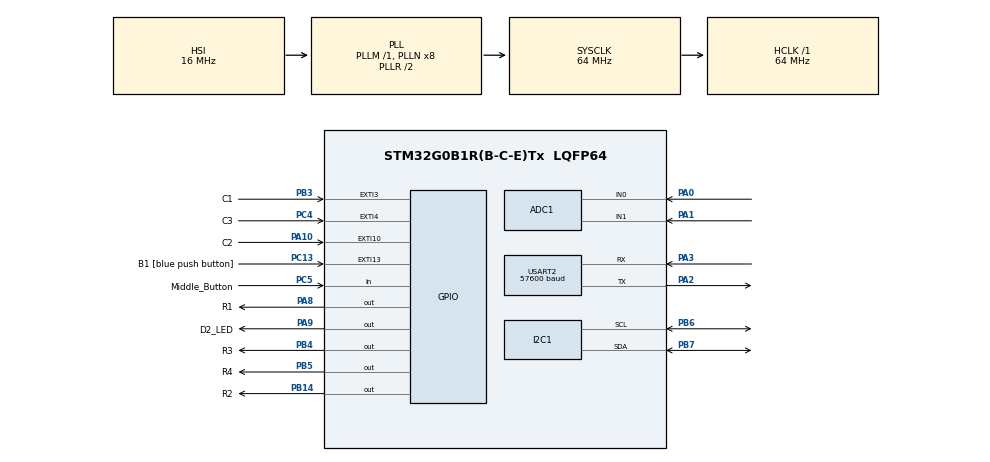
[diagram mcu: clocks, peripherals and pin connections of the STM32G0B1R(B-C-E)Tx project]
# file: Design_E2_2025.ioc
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ADC1.Channel-2\#ChannelRegularConversion=ADC_CHANNEL_0
ADC1.Channel-3\#ChannelRegularConversion=ADC_CHANNEL_1
ADC1.ContinuousConvMode=DISABLE
ADC1.DMAContinuousRequests=ENABLE
ADC1.DiscontinuousConvMode=DISABLE
ADC1.ExternalTrigConv=ADC_EXTERNALTRIG_T1_TRGO2
ADC1.NbrOfConversion=2
ADC1.NbrOfConversionFlag=1
ADC1.Rank-2\#ChannelRegularConversion=1
ADC1.Rank-3\#ChannelRegularConversion=2
ADC1.SamplingTime-2\#ChannelRegularConversion=ADC_SAMPLINGTIME_COMMON_1
ADC1.SamplingTime-3\#ChannelRegularConversion=ADC_SAMPLINGTIME_COMMON_2
ADC1.SamplingTimeCommon1=ADC_SAMPLETIME_160CYCLES_5
ADC1.SamplingTimeCommon2=ADC_SAMPLETIME_160CYCLES_5
ADC1.SelectedChannel=ADC_CHANNEL_0|ADC_CHANNEL_1
ADC1.master=1
Dma.ADC1.0.Direction=DMA_PERIPH_TO_MEMORY
Dma.ADC1.0.EventEnable=DISABLE
Dma.ADC1.0.Instance=DMA1_Channel1
Dma.ADC1.0.MemDataAlignment=DMA_MDATAALIGN_HALFWORD
Dma.ADC1.0.MemInc=DMA_MINC_ENABLE
Dma.ADC1.0.Mode=DMA_CIRCULAR
Dma.ADC1.0.PeriphDataAlignment=DMA_PDATAALIGN_HALFWORD
Dma.ADC1.0.PeriphInc=DMA_PINC_DISABLE
Dma.ADC1.0.Polarity=HAL_DMAMUX_REQ_GEN_RISING
Dma.ADC1.0.Priority=DMA_PRIORITY_LOW
Dma.ADC1.0.RequestNumber=1
Dma.ADC1.0.SignalID=NONE
Dma.ADC1.0.SyncEnable=DISABLE
Dma.ADC1.0.SyncPolarity=HAL_DMAMUX_SYNC_NO_EVENT
Dma.ADC1.0.SyncRequestNumber=1
Dma.ADC1.0.SyncSignalID=NONE
Dma.Request0=ADC1
I2C1.Timing=0x10B17DB5
Mcu.Family=STM32G0
Mcu.Name=STM32G0B1R(B-C-E)Tx
Mcu.Package=LQFP64
NVIC.ADC1_COMP_IRQn=true\:2\:0\:true\:false\:true\:true\:true\:true
NVIC.DMA1_Channel1_IRQn=true\:1\:0\:true\:false\:true\:false\:true\:true
NVIC.EXTI2_3_IRQn=true\:0\:0\:false\:false\:true\:true\:true\:true
NVIC.EXTI4_15_IRQn=true\:0\:0\:false\:false\:true\:true\:true\:true
NVIC.USART2_LPUART2_IRQn=true\:0\:0\:true\:false\:true\:true\:true\:true
PA0.Mode=IN0
PA0.Signal=ADC1_IN0
PA1.Mode=IN1
PA1.Signal=ADC1_IN1
PA10.GPIO_Label=C2
PA10.GPIO_PuPd=GPIO_PULLDOWN
PA10.Signal=GPXTI10
PA13.GPIO_Label=TMS
PA13.Mode=Serial_Wire
PA13.Signal=SYS_SWDIO
PA14-BOOT0.GPIO_Label=TCK
PA14-BOOT0.Mode=Serial_Wire
PA14-BOOT0.Signal=SYS_SWCLK
PA2.Mode=Asynchronous
PA2.Signal=USART2_TX
PA3.Mode=Asynchronous
PA3.Signal=USART2_RX
PA8.GPIO_Label=R1
PA8.Signal=GPIO_Output
PA9.GPIO_Label=D2_LED
PA9.Signal=GPIO_Output
PB14.GPIO_Label=R2
PB14.Signal=GPIO_Output
PB3.GPIO_Label=C1
PB3.GPIO_PuPd=GPIO_PULLDOWN
PB3.Signal=GPXTI3
PB4.GPIO_Label=R3
PB4.Signal=GPIO_Output
PB5.GPIO_Label=R4
PB5.Signal=GPIO_Output
PB6.Mode=I2C
PB6.Signal=I2C1_SCL
PB7.Mode=I2C
PB7.Signal=I2C1_SDA
PC13.GPIO_Label=B1 [blue push button]
PC13.Signal=GPXTI13
PC14-OSC32_IN\ (PC14).Mode=LSE-External-Oscillator
PC14-OSC32_IN\ (PC14).Signal=RCC_OSC32_IN
PC15-OSC32_OUT\ (PC15).Mode=LSE-External-Oscillator
PC15-OSC32_OUT\ (PC15).Signal=RCC_OSC32_OUT
PC4.GPIO_Label=C3
PC4.GPIO_PuPd=GPIO_PULLDOWN
PC4.Signal=GPXTI4
PC5.GPIO_Label=Middle_Button
PC5.GPIO_PuPd=GPIO_PULLUP
PC5.Signal=GPIO_Input
PF0-OSC_IN\ (PF0).GPIO_Label=MCO
PF0-OSC_IN\ (PF0).Mode=HSE-External-Clock-Source
PF0-OSC_IN\ (PF0).Signal=RCC_OSC_IN
ProjectManager.HeapSize=0x200
ProjectManager.StackSize=0x400
ProjectManager.TargetToolchain=STM32CubeIDE
RCC.ADCFreq_Value=64000000
RCC.AHBFreq_Value=64000000
RCC.CortexFreq_Value=64000000
RCC.EXTERNAL_CLOCK_VALUE=12288000
RCC.HCLKFreq_Value=64000000
RCC.HSE_VALUE=8000000
RCC.HSI48_VALUE=48000000
RCC.HSI_VALUE=16000000
RCC.PLLP=RCC_PLLP_DIV32
RCC.SYSCLKFreq_VALUE=64000000
RCC.SYSCLKSource=RCC_SYSCLKSOURCE_PLLCLK
RCC.USBFreq_Value=48000000
RCC.VCOOutputFreq_Value=128000000
RTC.Date=26
RTC.Hours=22
RTC.Minutes=12
RTC.Month=RTC_MONTH_FEBRUARY
RTC.Seconds=42
RTC.WeekDay=RTC_WEEKDAY_WEDNESDAY
RTC.Year=25
TIM1.Period=3199
TIM1.TIM_MasterOutputTrigger=TIM_TRGO_UPDATE
TIM1.TIM_MasterOutputTrigger2=TIM_TRGO2_UPDATE
TIM1.TIM_MasterSlaveMode=TIM_MASTERSLAVEMODE_ENABLE
USART2.BaudRate=57600
USART2.Parity=PARITY_EVEN
USART2.VirtualMode-Asynchronous=VM_ASYNC
USART2.WordLength=WORDLENGTH_9B
VP_RTC_VS_RTC_Activate.Mode=RTC_Enabled
VP_RTC_VS_RTC_Calendar.Mode=RTC_Calendar
VP_SYS_VS_DBSignals.Mode=DisableDeadBatterySignals
VP_TIM1_VS_ClockSourceINT.Mode=Internal
VP_TIM1_VS_ClockSourceITR.Mode=TriggerSource_ITR0
board=NUCLEO-G0B1RE

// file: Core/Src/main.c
/* USER CODE BEGIN Header */
/**
  ******************************************************************************
  * @file           : main.c
  * @brief          : Main program body
  ******************************************************************************
  * @attention
  *
  * Copyright (c) 2025 STMicroelectronics.
  * All rights reserved.
  *
  * This software is licensed under terms that can be found in the LICENSE file
  * in the root directory of this software component.
  * If no LICENSE file comes with this software, it is provided AS-IS.
  *
  ******************************************************************************
  */
/* USER CODE END Header */
#include "main.h"

/* USER CODE BEGIN Includes */
#include <string.h>
#include <stdio.h>
#include <math.h>
#include <stdlib.h>
#include <stdbool.h>
#include "ssd1306.h"
#include "ssd1306_fonts.h"
/* USER CODE END Includes */

/* USER CODE BEGIN PD */
#define BUFFER_SIZE 1200
#define BUTTON_DEBOUNCE_TIME_MS 50
#define DISPLAY_INTERVAL 250
/* USER CODE END PD */

ADC_HandleTypeDef hadc1;
DMA_HandleTypeDef hdma_adc1;

I2C_HandleTypeDef hi2c1;

RTC_HandleTypeDef hrtc;

TIM_HandleTypeDef htim1;

UART_HandleTypeDef huart2;

/* USER CODE BEGIN PV */
uint8_t rx_indx;
uint8_t rx_data[10];
uint8_t rx_buffer[100];
uint8_t transfer_cplt;
float Voffset = 1.65;
float Gain = 1.47;
float Actual_Voltage = 0;
float Actual_Current = 0;
char TDBuffer[100];
char PrintBuffer[2000];
uint8_t convCompleted = 0;
uint16_t ADC_Buffer[BUFFER_SIZE];
uint16_t ADC_DummyBuffer[BUFFER_SIZE];
uint32_t Volt_adcBuffer[BUFFER_SIZE / 2];
uint32_t Current_adcBuffer[BUFFER_SIZE / 2];
float Apparent_Power = 0;
float Effective_Voltage = 0;
float Effective_Current = 0;
float max_Actual_Voltage = 0;
float max_Actual_Current = 0;
volatile uint8_t flag_adc_processing = 0;
volatile uint8_t flag_uart_processing = 0;
volatile uint8_t current_screen = 0;
uint32_t lastDisplayTime = 0;
char lineBuffer[100];
volatile uint8_t previous_main_screen = 0;
static uint8_t led_state = 0;
float Phase_Angle = 0;
float Real_Power = 0;
float Reactive_Power = 0;
float Power_factor = 0;
static uint32_t last_debounce_time = 0;
float  star_flag=0;
float  star_flag2=0;

// stack for keeping track of screen
#define MAX_HISTORY 10
uint8_t screen_history[MAX_HISTORY];
int history_index = 0;

void push_screen(uint8_t screen) {
    if (history_index < MAX_HISTORY) {
        screen_history[history_index++] = screen;
    }
}

uint8_t pop_screen(void) {
    if (history_index > 0) {
        return screen_history[--history_index];
    }
    return 0; // fallback default screen
}
/* USER CODE END PV */

void SystemClock_Config(void);
static void MX_GPIO_Init(void);
static void MX_DMA_Init(void);
static void MX_ADC1_Init(void);
static void MX_RTC_Init(void);
static void MX_USART2_UART_Init(void);
static void MX_TIM1_Init(void);
static void MX_I2C1_Init(void);
/* USER CODE BEGIN PFP */
void SendStudent_Number(void);
void Process_UART_Command(void);
void Process_ADC_Data(void);
void Debug_ADC_Values(float max_voltage, float max_current, int voltage_crossings, int current_crossings);
void UpdateCurrentScreen(void);
void middle_button(void);
void Keys_Detect(void);
/* USER CODE END PFP */

/* USER CODE BEGIN 0 */
void SendStudent_Number(void) {
    HAL_Delay(150);
    char uart_buffer[20];
    const char studentNumber[] = "*24724181#\n";
    sprintf(uart_buffer, "%s", studentNumber);
    HAL_UART_Transmit(&huart2, (uint8_t*)studentNumber, strlen(studentNumber), 500);
}

void Process_UART_Command(void) {
    if (strcmp((char *)rx_buffer, "*Load#") == 0) {
        led_state = !led_state;
        HAL_GPIO_WritePin(D2_LED_GPIO_Port, D2_LED_Pin, led_state ? GPIO_PIN_SET : GPIO_PIN_RESET);
    } else if (strcmp((char *)rx_buffer, "*Stat#") == 0) {
        RTC_TimeTypeDef sTime;
        RTC_DateTypeDef sDate;
        HAL_RTC_GetTime(&hrtc, &sTime, RTC_FORMAT_BIN);
        HAL_RTC_GetDate(&hrtc, &sDate, RTC_FORMAT_BIN);
        sprintf(PrintBuffer,
                "%02d/%02d/%02d %02d:%02d:%02d\n"
                "Voltage:     %.1fV\n"
                "Current:    %.0fmA\n"
                "Phase:     %.3frad\n"
                "Apparent:    %.0fVA\n"
                "Real:         %.0fW\n"
                "Reactive:   %.0fVAR\n"
                "PowerFact:    %.3f\n"
                "Energy/d:   0.000Wh\n"
                "MaxPower:    0.000W\n"
                "UnitsLeft: 0.000kWh\n",
                sDate.Year + 2000, sDate.Month, sDate.Date,
                sTime.Hours, sTime.Minutes, sTime.Seconds,
                Effective_Voltage, Effective_Current * 1000, Phase_Angle, Apparent_Power,
                Real_Power, Reactive_Power, Power_factor);
        HAL_UART_Transmit(&huart2, (uint8_t*)PrintBuffer, strlen(PrintBuffer), HAL_MAX_DELAY);
    }
}

void Debug_ADC_Values(float max_voltage, float max_current, int voltage_crossings, int current_crossings) {
    char debug_buffer[100];
//    sprintf(debug_buffer, "MaxV: %.3fV, MaxI: %.3fA, VCross: %d, ICross: %d\n",
//            max_voltage, max_current, voltage_crossings, current_crossings);
//    HAL_UART_Transmit(&huart2, (uint8_t*)debug_buffer, strlen(debug_buffer), 100);
}

void Process_ADC_Data(void) {
    float Voltage_Array[BUFFER_SIZE / 2];
    float Current_Array[BUFFER_SIZE / 2];
    float max_voltage = -1000.0f;
    float max_current = -1000.0f;
    int max_voltage_index = 0;
    int max_current_index = 0;
    float voltage_zero_time = 0.0f;
    float current_zero_time = 0.0f;
    const float ZERO_THRESHOLD = 0.03f; // Increased to 0.03V from 0.02V
    const float CROSSING_THRESHOLD = 0.01f; // Tolerance for zero-crossing detection
    float voltage_zero_sum = 0.0f;
    float current_zero_sum = 0.0f;
    int voltage_zero_count = 0;
    int current_zero_count = 0;

    memcpy(ADC_DummyBuffer, ADC_Buffer, BUFFER_SIZE * sizeof(uint16_t));

    // Count zero-crossings to detect valid 50 Hz signal
    int voltage_crossings = 0;
    int current_crossings = 0;

    for (int i = 0; i < BUFFER_SIZE / 2; i++) {
        Volt_adcBuffer[i] = ADC_DummyBuffer[2 * i];
        Current_adcBuffer[i] = ADC_DummyBuffer[2 * i + 1];

        float Voltage = ((float)Volt_adcBuffer[i] * 3.3f) / 4095.0f;
        float Current = ((float)Current_adcBuffer[i] * 3.3f) / 4095.0f;

        Voltage_Array[i] = ((Voltage - Voffset) / Gain);
        Current_Array[i] = ((Current - Voffset) / Gain);

        if (Voltage_Array[i] > max_voltage) {
            max_voltage = Voltage_Array[i];
            max_voltage_index = i;
        }
        if (Current_Array[i] > max_current) {
            max_current = Current_Array[i];
            max_current_index = i;
        }

        float abs_Voltage = fabs(Voltage_Array[i]);
        float abs_Current = fabs(Current_Array[i]);
        if (abs_Voltage > max_Actual_Voltage) {
            max_Actual_Voltage = abs_Voltage;
        }
        if (abs_Current > max_Actual_Current) {
            max_Actual_Current = abs_Current;
        }

        // Detect zero-crossings with tolerance
        if (i < BUFFER_SIZE / 2 - 1) {
            if ((Voltage_Array[i] >= -CROSSING_THRESHOLD && Voltage_Array[i + 1] < -CROSSING_THRESHOLD) ||
                (Voltage_Array[i] <= CROSSING_THRESHOLD && Voltage_Array[i + 1] > CROSSING_THRESHOLD)) {
                voltage_crossings++;
            }
            if ((Current_Array[i] >= -CROSSING_THRESHOLD && Current_Array[i + 1] < -CROSSING_THRESHOLD) ||
                (Current_Array[i] <= CROSSING_THRESHOLD && Current_Array[i + 1] > CROSSING_THRESHOLD)) {
                current_crossings++;
            }
        }
    }

    // Calculate effective values
    Effective_Voltage = 1.0222222222f*115.0f * (2.0 * max_Actual_Voltage);
    Effective_Current = 1.017639077f*7.5 * (2.0 * max_Actual_Current);

    // Debug output to diagnose zero-state issue
    Debug_ADC_Values(max_Actual_Voltage, max_Actual_Current, voltage_crossings, current_crossings);

    // Apply thresholds for zero-state detection
    bool is_zero_state = false;
    // Expect at least 2 zero-crossings for two 50 Hz cycles (1 per cycle)
    if (Effective_Voltage < 30.0f || max_Actual_Voltage < ZERO_THRESHOLD || voltage_crossings < 2) {
        Effective_Voltage = 0.0f;
        is_zero_state = true;
    }
    if (Effective_Current < 1.3f || max_Actual_Current < ZERO_THRESHOLD || current_crossings < 2) { // 1300mA = 1.3A
        Effective_Current = 0.0f;
        is_zero_state = true;
    }

    if (is_zero_state) {
        // Set all derived metrics to zero
        Apparent_Power = 0.0f;
        Real_Power = 0.0f;
        Reactive_Power = 0.0f;
        Phase_Angle = 0.0f;
        Power_factor = 0.0f;
    } else {
        // Proceed with normal calculations
        Apparent_Power = Effective_Voltage * Effective_Current;

        for (int i = 0; i < BUFFER_SIZE / 2 - 1; i++) {
            if (Voltage_Array[i] >= 0 && Voltage_Array[i + 1] < 0) {
                float y1 = Voltage_Array[i];
                float y2 = Voltage_Array[i + 1];
                float x1 = i * 50e-6f;
                float x2 = (i + 1) * 50e-6f;
                float zero_time = x1 - y1 * (x2 - x1) / (y2 - y1);
                voltage_zero_sum += zero_time;
                voltage_zero_count++;
            }
            if (Current_Array[i] >= 0 && Current_Array[i + 1] < 0) {
                float y1 = Current_Array[i];
                float y2 = Current_Array[i + 1];
                float x1 = i * 50e-6f;
                float x2 = (i + 1) * 50e-6f;
                float zero_time = x1 - y1 * (x2 - x1) / (y2 - y1);
                current_zero_sum += zero_time;
                current_zero_count++;
            }
        }

        if (voltage_zero_count > 0 && current_zero_count > 0) {
            voltage_zero_time = voltage_zero_sum / voltage_zero_count;
            current_zero_time = current_zero_sum / current_zero_count;
            float time_diff = current_zero_time - voltage_zero_time;
            Phase_Angle = time_diff * 2.0f * 3.1415926535f * 50.0f;
            while (Phase_Angle > 3.1415926535f) Phase_Angle -= 2.0f * 3.1415926535f;
            while (Phase_Angle < -3.1415926535f) Phase_Angle += 2.0f * 3.1415926535f;
        } else {
            Phase_Angle = 0;
        }

        Real_Power = abs(Effective_Voltage * Effective_Current * cosf(abs(Phase_Angle)));
        Reactive_Power = Effective_Voltage * Effective_Current * sinf(Phase_Angle);
        Power_factor = cosf(Phase_Angle);
    }

    max_Actual_Voltage = 0;
    max_Actual_Current = 0;
}
void UpdateCurrentScreen(void) {
    switch(current_screen) {
        case 1:  // Voltage + Current + Phase
            ssd1306_Fill(Black);
            ssd1306_SetCursor(0, 0);
            sprintf(lineBuffer, "Voltage:    %.1fV", Effective_Voltage);
            ssd1306_WriteString(lineBuffer, Font_7x10, White);
            ssd1306_SetCursor(0, 9);
            sprintf(lineBuffer, "Current:   %.0fmA", Effective_Current * 1000);
            ssd1306_WriteString(lineBuffer, Font_7x10, White);
            ssd1306_SetCursor(0, 22);
            sprintf(lineBuffer, "Phase:   %.3fRad", Phase_Angle);
            ssd1306_WriteString(lineBuffer, Font_7x10, White);
            ssd1306_UpdateScreen();
            break;

        case 2:  // Real + Reactive + Power Factor
            ssd1306_Fill(Black);
            ssd1306_SetCursor(0, 0);
            sprintf(lineBuffer, "Real:        %.0fW", Real_Power);
            ssd1306_WriteString(lineBuffer, Font_7x10, White);
            ssd1306_SetCursor(0, 9);
            sprintf(lineBuffer, "Reactive:  %.0fVAR", Reactive_Power);
            ssd1306_WriteString(lineBuffer, Font_7x10, White);
            ssd1306_SetCursor(0, 22);
            sprintf(lineBuffer, "PowerFact:   %.3f", Power_factor);
            ssd1306_WriteString(lineBuffer, Font_7x10, White);
            ssd1306_UpdateScreen();
            break;

        case 3:  // Clock + MaxPower + Min Units
            RTC_TimeTypeDef sTime;
            RTC_DateTypeDef sDate;
            HAL_RTC_GetTime(&hrtc, &sTime, RTC_FORMAT_BIN);
            HAL_RTC_GetDate(&hrtc, &sDate, RTC_FORMAT_BIN);
            ssd1306_Fill(Black);
            ssd1306_SetCursor(0, 0);
            sprintf(lineBuffer, "%02d:%02d:%02d  %02d/%02d/%02d", sTime.Hours, sTime.Minutes, sTime.Seconds, sDate.Year, sDate.Month, sDate.Date);
            ssd1306_WriteString(lineBuffer, Font_7x10, White);
            ssd1306_SetCursor(0, 9);
            sprintf(lineBuffer, "Max power:   %.0fW", Real_Power);
            ssd1306_WriteString(lineBuffer, Font_7x10, White);
            ssd1306_SetCursor(0, 22);
            sprintf(lineBuffer, "Min Units:  000kWh");
            ssd1306_WriteString(lineBuffer, Font_7x10, White);
            ssd1306_UpdateScreen();
            break;

        case 4:  // Enter Menu 1
            ssd1306_Fill(Black);
            ssd1306_SetCursor(0, 0);
            sprintf(lineBuffer, "Menu(Lv1 1):");
            ssd1306_WriteString(lineBuffer, Font_7x10, White);
            ssd1306_SetCursor(0, 9);
            sprintf(lineBuffer, "1: Load On/Off");
            ssd1306_WriteString(lineBuffer, Font_7x10, White);
            ssd1306_SetCursor(0, 22);
            sprintf(lineBuffer, "2: manage Units");
            ssd1306_WriteString(lineBuffer, Font_7x10, White);
            ssd1306_UpdateScreen();
            break;

        case 5:  // Load switch Menu
            ssd1306_Fill(Black);
            ssd1306_SetCursor(0, 0);
            sprintf(lineBuffer, "Load on/off");
            ssd1306_WriteString(lineBuffer, Font_7x10, White);
            ssd1306_SetCursor(0, 9);
            sprintf(lineBuffer, "1=ON  2=OFF");
            ssd1306_WriteString(lineBuffer, Font_7x10, White);
            ssd1306_SetCursor(0, 22);
            sprintf(lineBuffer, "'*' to confirm");
            ssd1306_WriteString(lineBuffer, Font_7x10, White);
            ssd1306_UpdateScreen();
            break;

        case 6:  // Menu 2
            ssd1306_Fill(Black);
            ssd1306_SetCursor(0, 0);
            sprintf(lineBuffer, "Menu(Lv1 2):");
            ssd1306_WriteString(lineBuffer, Font_7x10, White);
            ssd1306_SetCursor(0, 9);
            sprintf(lineBuffer, "1: Count On/Off");
            ssd1306_WriteString(lineBuffer, Font_7x10, White);
            ssd1306_SetCursor(0, 22);
            sprintf(lineBuffer, "2: Add Units");
            ssd1306_WriteString(lineBuffer, Font_7x10, White);
            ssd1306_UpdateScreen();
            break;

        case 7:  // Unit count Menu
            ssd1306_Fill(Black);
            ssd1306_SetCursor(0, 0);
            sprintf(lineBuffer, "Unit Count on/off");
            ssd1306_WriteString(lineBuffer, Font_7x10, White);
            ssd1306_SetCursor(0, 9);
            sprintf(lineBuffer, "1=ON  2=OFF");
            ssd1306_WriteString(lineBuffer, Font_7x10, White);
            ssd1306_SetCursor(0, 22);
            sprintf(lineBuffer, "'*' to confirm");
            ssd1306_WriteString(lineBuffer, Font_7x10, White);
            ssd1306_UpdateScreen();
            break;

        case 8:  // Unit count Menu
            ssd1306_Fill(Black);
            ssd1306_SetCursor(0, 0);
            sprintf(lineBuffer, "Units to add:");
            ssd1306_WriteString(lineBuffer, Font_7x10, White);
            ssd1306_SetCursor(0, 9);
            sprintf(lineBuffer,"0(Note:Awaiting input xxx)");
            ssd1306_WriteString(lineBuffer, Font_6x8, White);
            ssd1306_SetCursor(0, 22);
            sprintf(lineBuffer, "Press '*' to add");
            ssd1306_WriteString(lineBuffer, Font_7x10, White);
            ssd1306_UpdateScreen();
            break;

        case 9:  //LOAD_ON
        	ssd1306_Fill(Black);
        	ssd1306_SetCursor(0, 0);
        	sprintf(lineBuffer, "Load on/off");
        	ssd1306_WriteString(lineBuffer, Font_7x10, White);
        	ssd1306_SetCursor(0, 9);
        	sprintf(lineBuffer, "1=ON# 2=OFF");
        	ssd1306_WriteString(lineBuffer, Font_7x10, White);
        	ssd1306_SetCursor(0, 22);
        	sprintf(lineBuffer, "'*' to confirm");
        	ssd1306_WriteString(lineBuffer, Font_7x10, White);
        	ssd1306_UpdateScreen();
        	break;

        case 10:  //LOAD_OFF
        	ssd1306_Fill(Black);
        	ssd1306_SetCursor(0, 0);
        	sprintf(lineBuffer, "Load on/off");
        	ssd1306_WriteString(lineBuffer, Font_7x10, White);
        	ssd1306_SetCursor(0, 9);
        	sprintf(lineBuffer, "1=ON 2=OFF#");
        	ssd1306_WriteString(lineBuffer, Font_7x10, White);
        	ssd1306_SetCursor(0, 22);
        	sprintf(lineBuffer, "'*' to confirm");
        	ssd1306_WriteString(lineBuffer, Font_7x10, White);
        	ssd1306_UpdateScreen();
        	break;

        case 11://COUNT_ON
        	ssd1306_Fill(Black);
        	ssd1306_SetCursor(0, 0);
        	sprintf(lineBuffer, "Unit Count on/off");
        	ssd1306_WriteString(lineBuffer, Font_7x10, White);
        	ssd1306_SetCursor(0, 9);
        	sprintf(lineBuffer, "1=ON# 2=OFF");
        	ssd1306_WriteString(lineBuffer, Font_7x10, White);
        	ssd1306_SetCursor(0, 22);
        	sprintf(lineBuffer, "'*' to confirm");
        	ssd1306_WriteString(lineBuffer, Font_7x10, White);
        	ssd1306_UpdateScreen();
        	break;

        case 12:// COUNT_OFF
        	ssd1306_Fill(Black);
        	ssd1306_SetCursor(0, 0);
        	sprintf(lineBuffer, "Unit Count on/off");
        	ssd1306_WriteString(lineBuffer, Font_7x10, White);
        	ssd1306_SetCursor(0, 9);
        	sprintf(lineBuffer, "1=ON  2=OFF#");
        	ssd1306_WriteString(lineBuffer, Font_7x10, White);
        	ssd1306_SetCursor(0, 22);
        	sprintf(lineBuffer, "'*' to confirm");
        	ssd1306_WriteString(lineBuffer, Font_7x10, White);
        	ssd1306_UpdateScreen();
        	break;

        case 0:  // Apparent + Energy + Units
        default:
        	ssd1306_Fill(Black);
        	ssd1306_SetCursor(0, 0);
        	sprintf(lineBuffer, "Apparent:   %.0fVA", Apparent_Power);
        	ssd1306_WriteString(lineBuffer, Font_7x10, White);
        	ssd1306_SetCursor(0, 9);
        	sprintf(lineBuffer, "Energy/d:  0.000Wh");
        	ssd1306_WriteString(lineBuffer, Font_7x10, White);
        	ssd1306_SetCursor(0, 22);
        	sprintf(lineBuffer, "Units:  000.000kWh");
        	ssd1306_WriteString(lineBuffer, Font_7x10, White);
        	ssd1306_UpdateScreen();
        	break;

    }
}

void middle_button(void) {
    static uint8_t prev_button_state = 1;
    uint32_t current_time = HAL_GetTick();
    uint8_t current_button_state = HAL_GPIO_ReadPin(Middle_Button_GPIO_Port, Middle_Button_Pin);

    if ((prev_button_state == 1) && (current_button_state == 0) && (current_time - last_debounce_time) > BUTTON_DEBOUNCE_TIME_MS) {
        led_state = !led_state;
        HAL_GPIO_WritePin(D2_LED_GPIO_Port, D2_LED_Pin, led_state ? GPIO_PIN_SET : GPIO_PIN_RESET);
        last_debounce_time = current_time;
    }
    prev_button_state = current_button_state;
}
void Keys_Detect(void) {
    HAL_GPIO_WritePin(GPIOA, R1_Pin, GPIO_PIN_SET);
    HAL_GPIO_WritePin(GPIOB, R2_Pin | R3_Pin|R4_Pin, GPIO_PIN_RESET);

    if (HAL_GPIO_ReadPin(C1_GPIO_Port, C1_Pin) == GPIO_PIN_SET) {

    	/*1*/
        if (current_screen == 0 || current_screen == 2 || current_screen == 3) {
            current_screen = 1;
        } else if (current_screen == 4) {
        	push_screen(current_screen);
        	current_screen = 5;
        } else if (current_screen == 6) {
        	push_screen(current_screen);
            current_screen = 7;
        }
        else if (current_screen == 5) {
        push_screen(current_screen);
        current_screen = 9;
        star_flag=1;
        }
        else if (current_screen == 7) {
        	push_screen(current_screen);
        	current_screen = 11;
        }
        else if (current_screen == 9) {
        	push_screen(current_screen);

              }
        while (HAL_GPIO_ReadPin(C1_GPIO_Port, C1_Pin));
    }
    if (HAL_GPIO_ReadPin(C2_GPIO_Port, C2_Pin) == GPIO_PIN_SET) {

    	/*2*/
    	if (current_screen == 0 || current_screen == 1 || current_screen == 3) {
    		current_screen = 2;
    	}
    	else if (current_screen == 4) {
    		push_screen(current_screen);
    		current_screen = 6;
    	}
         else if (current_screen == 6) {
        	 push_screen(current_screen);
        	 current_screen = 8;
        }
        else if (current_screen == 5) {
             push_screen(current_screen);
             current_screen = 10;
             star_flag2=1;
             }
        else if (current_screen == 7) {
        	push_screen(current_screen);
        	current_screen = 12;
        }
        else if (current_screen==10){
        	push_screen(current_screen);
        }
        while (HAL_GPIO_ReadPin(C2_GPIO_Port, C2_Pin));
    }
    if (HAL_GPIO_ReadPin(C3_GPIO_Port, C3_Pin) == GPIO_PIN_SET) {

    	/*3*/
        current_screen = 3;
        while (HAL_GPIO_ReadPin(C3_GPIO_Port, C3_Pin));
    }

    HAL_GPIO_WritePin(GPIOB, R2_Pin, GPIO_PIN_SET);
    HAL_GPIO_WritePin(GPIOB, R3_Pin|R4_Pin, GPIO_PIN_RESET);
    HAL_GPIO_WritePin(GPIOA, R1_Pin, GPIO_PIN_RESET);
    if (HAL_GPIO_ReadPin(C1_GPIO_Port, C1_Pin) == GPIO_PIN_SET) {

    	/*4*/
        while (HAL_GPIO_ReadPin(C1_GPIO_Port, C1_Pin));
    }
    if (HAL_GPIO_ReadPin(C2_GPIO_Port, C2_Pin) == GPIO_PIN_SET) {

    	/*5*/
        while (HAL_GPIO_ReadPin(GPIOC, C2_Pin));
    }
    if (HAL_GPIO_ReadPin(C3_GPIO_Port, C3_Pin) == GPIO_PIN_SET) {
    	/*6*/
        while (HAL_GPIO_ReadPin(C3_GPIO_Port, C3_Pin));
    }

    HAL_GPIO_WritePin(GPIOB, R3_Pin, GPIO_PIN_SET);
    HAL_GPIO_WritePin(GPIOB, R2_Pin|R4_Pin, GPIO_PIN_RESET);
    HAL_GPIO_WritePin(GPIOA, R1_Pin, GPIO_PIN_RESET);
    if (HAL_GPIO_ReadPin(C1_GPIO_Port, C1_Pin) == GPIO_PIN_SET) {
    	/*7*/
        while (HAL_GPIO_ReadPin(C1_GPIO_Port, C1_Pin));
    }
    if (HAL_GPIO_ReadPin(C2_GPIO_Port, C2_Pin) == GPIO_PIN_SET) {
    	/*8*/
        while (HAL_GPIO_ReadPin(C2_GPIO_Port, C2_Pin));
    }
    if (HAL_GPIO_ReadPin(C3_GPIO_Port, C3_Pin) == GPIO_PIN_SET) {
    	/*9*/
        while (HAL_GPIO_ReadPin(C3_GPIO_Port, C3_Pin));
    }

    HAL_GPIO_WritePin(GPIOB, R4_Pin, GPIO_PIN_SET);
    HAL_GPIO_WritePin(GPIOB, R2_Pin | R3_Pin, GPIO_PIN_RESET);
    HAL_GPIO_WritePin(GPIOA, R1_Pin, GPIO_PIN_RESET);

    if (HAL_GPIO_ReadPin(C1_GPIO_Port, C1_Pin) == GPIO_PIN_SET) {
    	/* * */
        if (current_screen == 5 || current_screen == 7 || current_screen == 9 || current_screen == 10 || current_screen == 11 || current_screen == 12) {
        	current_screen = 0;
        	if(star_flag==1){
        	HAL_GPIO_WritePin(D2_LED_GPIO_Port, D2_LED_Pin,GPIO_PIN_SET);
        	}
        	else if(star_flag2==1){
        		HAL_GPIO_WritePin(D2_LED_GPIO_Port, D2_LED_Pin,GPIO_PIN_RESET);
        	}
        	star_flag=0;
        	star_flag2=0;
        }
        else if (current_screen == 8) {
       // Do the adding
        	push_screen(current_screen);
        }

        else if (current_screen <= 3) {
        	push_screen(current_screen);
            current_screen = 4;
        }
        while (HAL_GPIO_ReadPin(C1_GPIO_Port, C1_Pin));
    }
    if (HAL_GPIO_ReadPin(C2_GPIO_Port, C2_Pin) == GPIO_PIN_SET) {

    	/* 0 */
        current_screen = 0;
        while (HAL_GPIO_ReadPin(C2_GPIO_Port, C2_Pin));
    }
    if (HAL_GPIO_ReadPin(C3_GPIO_Port, C3_Pin) == GPIO_PIN_SET) {

    	/* # */
    	if(current_screen >= 4){
    	  current_screen = pop_screen();
    	}
    	  while (HAL_GPIO_ReadPin(C3_GPIO_Port, C3_Pin));
        }
}
/* USER CODE END 0 */

int main(void)
{

  /* USER CODE BEGIN 1 */
    max_Actual_Voltage = 0;
    max_Actual_Current = 0;
  /* USER CODE END 1 */

  /* MCU Configuration--------------------------------------------------------*/

  /* Reset of all peripherals, Initializes the Flash interface and the Systick. */
  HAL_Init();

  /* Configure the system clock */
  SystemClock_Config();

  /* Initialize all configured peripherals */
  MX_GPIO_Init();
  MX_DMA_Init();
  MX_ADC1_Init();
  MX_RTC_Init();
  MX_USART2_UART_Init();
  MX_TIM1_Init();
  MX_I2C1_Init();
  /* USER CODE BEGIN 2 */
    ssd1306_Init();
    HAL_UART_Receive_IT(&huart2, rx_data, 1);
    HAL_TIM_Base_Start(&htim1);
    HAL_ADC_Start_DMA(&hadc1, (uint32_t*)ADC_Buffer, BUFFER_SIZE);
    SendStudent_Number();
    current_screen = 0;
  /* USER CODE END 2 */

  /* Infinite loop */
  /* USER CODE BEGIN WHILE */
    while (1) {
        if (flag_adc_processing) {
            flag_adc_processing = 0;
            Process_ADC_Data();
        }

        if (flag_uart_processing) {
            flag_uart_processing = 0;
            Process_UART_Command();
        }

        if (HAL_GetTick() - lastDisplayTime > DISPLAY_INTERVAL) {
            lastDisplayTime = HAL_GetTick();
            UpdateCurrentScreen();
        }

        Keys_Detect();
        middle_button();
    /* USER CODE END WHILE */

    }
}

void SystemClock_Config(void)
{
  RCC_OscInitTypeDef RCC_OscInitStruct = {0};
  RCC_ClkInitTypeDef RCC_ClkInitStruct = {0};

  /** Configure the main internal regulator output voltage
  */
  HAL_PWREx_ControlVoltageScaling(PWR_REGULATOR_VOLTAGE_SCALE1);

  /** Initializes the RCC Oscillators according to the specified parameters
  * in the RCC_OscInitTypeDef structure.
  */
  RCC_OscInitStruct.OscillatorType = RCC_OSCILLATORTYPE_HSI|RCC_OSCILLATORTYPE_LSI;
  RCC_OscInitStruct.HSIState = RCC_HSI_ON;
  RCC_OscInitStruct.HSIDiv = RCC_HSI_DIV1;
  RCC_OscInitStruct.HSICalibrationValue = RCC_HSICALIBRATION_DEFAULT;
  RCC_OscInitStruct.LSIState = RCC_LSI_ON;
  RCC_OscInitStruct.PLL.PLLState = RCC_PLL_ON;
  RCC_OscInitStruct.PLL.PLLSource = RCC_PLLSOURCE_HSI;
  RCC_OscInitStruct.PLL.PLLM = RCC_PLLM_DIV1;
  RCC_OscInitStruct.PLL.PLLN = 8;
  RCC_OscInitStruct.PLL.PLLP = RCC_PLLP_DIV32;
  RCC_OscInitStruct.PLL.PLLQ = RCC_PLLQ_DIV2;
  RCC_OscInitStruct.PLL.PLLR = RCC_PLLR_DIV2;
  if (HAL_RCC_OscConfig(&RCC_OscInitStruct) != HAL_OK)
  {
    Error_Handler();
  }

  /** Initializes the CPU, AHB and APB buses clocks
  */
  RCC_ClkInitStruct.ClockType = RCC_CLOCKTYPE_HCLK|RCC_CLOCKTYPE_SYSCLK
                              |RCC_CLOCKTYPE_PCLK1;
  RCC_ClkInitStruct.SYSCLKSource = RCC_SYSCLKSOURCE_PLLCLK;
  RCC_ClkInitStruct.AHBCLKDivider = RCC_SYSCLK_DIV1;
  RCC_ClkInitStruct.APB1CLKDivider = RCC_HCLK_DIV1;

  if (HAL_RCC_ClockConfig(&RCC_ClkInitStruct, FLASH_LATENCY_2) != HAL_OK)
  {
    Error_Handler();
  }
}

static void MX_ADC1_Init(void)
{

  ADC_ChannelConfTypeDef sConfig = {0};

  /** Configure the global features of the ADC (Clock, Resolution, Data Alignment and number of conversion)
  */
  hadc1.Instance = ADC1;
  hadc1.Init.ClockPrescaler = ADC_CLOCK_SYNC_PCLK_DIV2;
  hadc1.Init.Resolution = ADC_RESOLUTION_12B;
  hadc1.Init.DataAlign = ADC_DATAALIGN_RIGHT;
  hadc1.Init.ScanConvMode = ADC_SCAN_ENABLE;
  hadc1.Init.EOCSelection = ADC_EOC_SINGLE_CONV;
  hadc1.Init.LowPowerAutoWait = DISABLE;
  hadc1.Init.LowPowerAutoPowerOff = DISABLE;
  hadc1.Init.ContinuousConvMode = DISABLE;
  hadc1.Init.NbrOfConversion = 2;
  hadc1.Init.DiscontinuousConvMode = DISABLE;
  hadc1.Init.ExternalTrigConv = ADC_EXTERNALTRIG_T1_TRGO2;
  hadc1.Init.ExternalTrigConvEdge = ADC_EXTERNALTRIGCONVEDGE_RISING;
  hadc1.Init.DMAContinuousRequests = ENABLE;
  hadc1.Init.Overrun = ADC_OVR_DATA_PRESERVED;
  hadc1.Init.SamplingTimeCommon1 = ADC_SAMPLETIME_160CYCLES_5;
  hadc1.Init.SamplingTimeCommon2 = ADC_SAMPLETIME_160CYCLES_5;
  hadc1.Init.OversamplingMode = DISABLE;
  hadc1.Init.TriggerFrequencyMode = ADC_TRIGGER_FREQ_HIGH;
  if (HAL_ADC_Init(&hadc1) != HAL_OK)
  {
    Error_Handler();
  }

  /** Configure Regular Channel
  */
  sConfig.Channel = ADC_CHANNEL_0;
  sConfig.Rank = ADC_REGULAR_RANK_1;
  sConfig.SamplingTime = ADC_SAMPLINGTIME_COMMON_1;
  if (HAL_ADC_ConfigChannel(&hadc1, &sConfig) != HAL_OK)
  {
    Error_Handler();
  }

  /** Configure Regular Channel
  */
  sConfig.Channel = ADC_CHANNEL_1;
  sConfig.Rank = ADC_REGULAR_RANK_2;
  sConfig.SamplingTime = ADC_SAMPLINGTIME_COMMON_2;
  if (HAL_ADC_ConfigChannel(&hadc1, &sConfig) != HAL_OK)
  {
    Error_Handler();
  }

}

static void MX_I2C1_Init(void)
{

  hi2c1.Instance = I2C1;
  hi2c1.Init.Timing = 0x10B17DB5;
  hi2c1.Init.OwnAddress1 = 0;
  hi2c1.Init.AddressingMode = I2C_ADDRESSINGMODE_7BIT;
  hi2c1.Init.DualAddressMode = I2C_DUALADDRESS_DISABLE;
  hi2c1.Init.OwnAddress2 = 0;
  hi2c1.Init.OwnAddress2Masks = I2C_OA2_NOMASK;
  hi2c1.Init.GeneralCallMode = I2C_GENERALCALL_DISABLE;
  hi2c1.Init.NoStretchMode = I2C_NOSTRETCH_DISABLE;
  if (HAL_I2C_Init(&hi2c1) != HAL_OK)
  {
    Error_Handler();
  }

  /** Configure Analogue filter
  */
  if (HAL_I2CEx_ConfigAnalogFilter(&hi2c1, I2C_ANALOGFILTER_ENABLE) != HAL_OK)
  {
    Error_Handler();
  }

  /** Configure Digital filter
  */
  if (HAL_I2CEx_ConfigDigitalFilter(&hi2c1, 0) != HAL_OK)
  {
    Error_Handler();
  }

}

static void MX_RTC_Init(void)
{

  RTC_TimeTypeDef sTime = {0};
  RTC_DateTypeDef sDate = {0};

  /** Initialize RTC Only
  */
  hrtc.Instance = RTC;
  hrtc.Init.HourFormat = RTC_HOURFORMAT_24;
  hrtc.Init.AsynchPrediv = 127;
  hrtc.Init.SynchPrediv = 255;
  hrtc.Init.OutPut = RTC_OUTPUT_DISABLE;
  hrtc.Init.OutPutRemap = RTC_OUTPUT_REMAP_NONE;
  hrtc.Init.OutPutPolarity = RTC_OUTPUT_POLARITY_HIGH;
  hrtc.Init.OutPutType = RTC_OUTPUT_TYPE_OPENDRAIN;
  hrtc.Init.OutPutPullUp = RTC_OUTPUT_PULLUP_NONE;
  if (HAL_RTC_Init(&hrtc) != HAL_OK)
  {
    Error_Handler();
  }

  /** Initialize RTC and set the Time and Date
  */
  sTime.Hours = 0x22;
  sTime.Minutes = 0x12;
  sTime.Seconds = 0x42;
  sTime.SubSeconds = 0x0;
  sTime.DayLightSaving = RTC_DAYLIGHTSAVING_NONE;
  sTime.StoreOperation = RTC_STOREOPERATION_RESET;
  if (HAL_RTC_SetTime(&hrtc, &sTime, RTC_FORMAT_BCD) != HAL_OK)
  {
    Error_Handler();
  }
  sDate.WeekDay = RTC_WEEKDAY_WEDNESDAY;
  sDate.Month = RTC_MONTH_FEBRUARY;
  sDate.Date = 0x26;
  sDate.Year = 0x25;

  if (HAL_RTC_SetDate(&hrtc, &sDate, RTC_FORMAT_BCD) != HAL_OK)
  {
    Error_Handler();
  }

}

static void MX_TIM1_Init(void)
{

  TIM_ClockConfigTypeDef sClockSourceConfig = {0};
  TIM_SlaveConfigTypeDef sSlaveConfig = {0};
  TIM_MasterConfigTypeDef sMasterConfig = {0};

  htim1.Instance = TIM1;
  htim1.Init.Prescaler = 0;
  htim1.Init.CounterMode = TIM_COUNTERMODE_UP;
  htim1.Init.Period = 3199;
  htim1.Init.ClockDivision = TIM_CLOCKDIVISION_DIV1;
  htim1.Init.RepetitionCounter = 0;
  htim1.Init.AutoReloadPreload = TIM_AUTORELOAD_PRELOAD_DISABLE;
  if (HAL_TIM_Base_Init(&htim1) != HAL_OK)
  {
    Error_Handler();
  }
  sClockSourceConfig.ClockSource = TIM_CLOCKSOURCE_INTERNAL;
  if (HAL_TIM_ConfigClockSource(&htim1, &sClockSourceConfig) != HAL_OK)
  {
    Error_Handler();
  }
  sSlaveConfig.SlaveMode = TIM_SLAVEMODE_DISABLE;
  sSlaveConfig.InputTrigger = TIM_TS_ITR0;
  if (HAL_TIM_SlaveConfigSynchro(&htim1, &sSlaveConfig) != HAL_OK)
  {
    Error_Handler();
  }
  sMasterConfig.MasterOutputTrigger = TIM_TRGO_UPDATE;
  sMasterConfig.MasterOutputTrigger2 = TIM_TRGO2_UPDATE;
  sMasterConfig.MasterSlaveMode = TIM_MASTERSLAVEMODE_ENABLE;
  if (HAL_TIMEx_MasterConfigSynchronization(&htim1, &sMasterConfig) != HAL_OK)
  {
    Error_Handler();
  }

}

static void MX_USART2_UART_Init(void)
{

  huart2.Instance = USART2;
  huart2.Init.BaudRate = 57600;
  huart2.Init.WordLength = UART_WORDLENGTH_9B;
  huart2.Init.StopBits = UART_STOPBITS_1;
  huart2.Init.Parity = UART_PARITY_EVEN;
  huart2.Init.Mode = UART_MODE_TX_RX;
  huart2.Init.HwFlowCtl = UART_HWCONTROL_NONE;
  huart2.Init.OverSampling = UART_OVERSAMPLING_16;
  huart2.Init.OneBitSampling = UART_ONE_BIT_SAMPLE_DISABLE;
  huart2.Init.ClockPrescaler = UART_PRESCALER_DIV1;
  huart2.AdvancedInit.AdvFeatureInit = UART_ADVFEATURE_NO_INIT;
  if (HAL_UART_Init(&huart2) != HAL_OK)
  {
    Error_Handler();
  }
  if (HAL_UARTEx_SetTxFifoThreshold(&huart2, UART_TXFIFO_THRESHOLD_1_8) != HAL_OK)
  {
    Error_Handler();
  }
  if (HAL_UARTEx_SetRxFifoThreshold(&huart2, UART_RXFIFO_THRESHOLD_1_8) != HAL_OK)
  {
    Error_Handler();
  }
  if (HAL_UARTEx_DisableFifoMode(&huart2) != HAL_OK)
  {
    Error_Handler();
  }

}

static void MX_DMA_Init(void)
{

  /* DMA controller clock enable */
  __HAL_RCC_DMA1_CLK_ENABLE();

  /* DMA interrupt init */
  /* DMA1_Channel1_IRQn interrupt configuration */
  HAL_NVIC_SetPriority(DMA1_Channel1_IRQn, 1, 0);
  HAL_NVIC_EnableIRQ(DMA1_Channel1_IRQn);

}

static void MX_GPIO_Init(void)
{
  GPIO_InitTypeDef GPIO_InitStruct = {0};

  /* GPIO Ports Clock Enable */
  __HAL_RCC_GPIOC_CLK_ENABLE();
  __HAL_RCC_GPIOF_CLK_ENABLE();
  __HAL_RCC_GPIOA_CLK_ENABLE();
  __HAL_RCC_GPIOB_CLK_ENABLE();

  /*Configure GPIO pin Output Level */
  HAL_GPIO_WritePin(GPIOB, R2_Pin|R3_Pin|R4_Pin, GPIO_PIN_RESET);

  /*Configure GPIO pin Output Level */
  HAL_GPIO_WritePin(GPIOA, R1_Pin|D2_LED_Pin, GPIO_PIN_RESET);

  /*Configure GPIO pin : B1_Pin */
  GPIO_InitStruct.Pin = B1_Pin;
  GPIO_InitStruct.Mode = GPIO_MODE_IT_RISING;
  GPIO_InitStruct.Pull = GPIO_NOPULL;
  HAL_GPIO_Init(B1_GPIO_Port, &GPIO_InitStruct);

  /*Configure GPIO pin : C3_Pin */
  GPIO_InitStruct.Pin = C3_Pin;
  GPIO_InitStruct.Mode = GPIO_MODE_IT_RISING;
  GPIO_InitStruct.Pull = GPIO_PULLDOWN;
  HAL_GPIO_Init(C3_GPIO_Port, &GPIO_InitStruct);

  /*Configure GPIO pin : Middle_Button_Pin */
  GPIO_InitStruct.Pin = Middle_Button_Pin;
  GPIO_InitStruct.Mode = GPIO_MODE_INPUT;
  GPIO_InitStruct.Pull = GPIO_PULLUP;
  HAL_GPIO_Init(Middle_Button_GPIO_Port, &GPIO_InitStruct);

  /*Configure GPIO pins : R2_Pin R3_Pin R4_Pin */
  GPIO_InitStruct.Pin = R2_Pin|R3_Pin|R4_Pin;
  GPIO_InitStruct.Mode = GPIO_MODE_OUTPUT_PP;
  GPIO_InitStruct.Pull = GPIO_NOPULL;
  GPIO_InitStruct.Speed = GPIO_SPEED_FREQ_LOW;
  HAL_GPIO_Init(GPIOB, &GPIO_InitStruct);

  /*Configure GPIO pins : R1_Pin D2_LED_Pin */
  GPIO_InitStruct.Pin = R1_Pin|D2_LED_Pin;
  GPIO_InitStruct.Mode = GPIO_MODE_OUTPUT_PP;
  GPIO_InitStruct.Pull = GPIO_NOPULL;
  GPIO_InitStruct.Speed = GPIO_SPEED_FREQ_LOW;
  HAL_GPIO_Init(GPIOA, &GPIO_InitStruct);

  /*Configure GPIO pin : C2_Pin */
  GPIO_InitStruct.Pin = C2_Pin;
  GPIO_InitStruct.Mode = GPIO_MODE_IT_RISING;
  GPIO_InitStruct.Pull = GPIO_PULLDOWN;
  HAL_GPIO_Init(C2_GPIO_Port, &GPIO_InitStruct);

  /*Configure GPIO pin : C1_Pin */
  GPIO_InitStruct.Pin = C1_Pin;
  GPIO_InitStruct.Mode = GPIO_MODE_IT_RISING;
  GPIO_InitStruct.Pull = GPIO_PULLDOWN;
  HAL_GPIO_Init(C1_GPIO_Port, &GPIO_InitStruct);

  /* EXTI interrupt init*/
  HAL_NVIC_SetPriority(EXTI2_3_IRQn, 0, 0);
  HAL_NVIC_EnableIRQ(EXTI2_3_IRQn);

  HAL_NVIC_SetPriority(EXTI4_15_IRQn, 0, 0);
  HAL_NVIC_EnableIRQ(EXTI4_15_IRQn);

}

/* USER CODE BEGIN 4 */
void HAL_ADC_ConvCpltCallback(ADC_HandleTypeDef* hadc) {
    if (hadc->Instance == ADC1) {
        flag_adc_processing = 1;
        HAL_ADC_Start_DMA(&hadc1, (uint32_t*)ADC_Buffer, BUFFER_SIZE);
    }
}

void HAL_UART_RxCpltCallback(UART_HandleTypeDef *huart) {
    if (huart->Instance == USART2) {
        if (rx_data[0] != '\n') {
            rx_buffer[rx_indx++] = rx_data[0];
        } else {
            rx_buffer[rx_indx] = '\0';
            rx_indx = 0;
            transfer_cplt = 1;
            flag_uart_processing = 1;
        }
        HAL_UART_Receive_IT(&huart2, rx_data, 1);
    }
}

void HAL_GPIO_EXTI_Callback(uint16_t GPIO_Pin) {
    // Placeholder for EXTI callbacks if needed
}

/* USER CODE END 4 */

void Error_Handler(void)
{
  __disable_irq();
  while (1)
  {
  }
}
